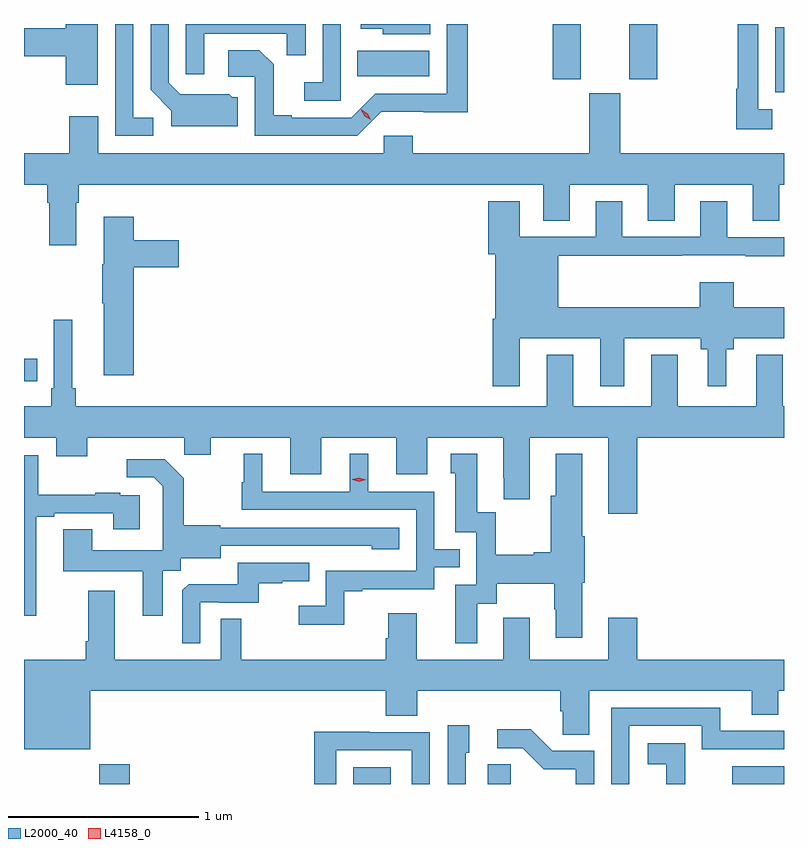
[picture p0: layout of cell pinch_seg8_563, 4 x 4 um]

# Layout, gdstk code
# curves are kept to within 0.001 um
import gdstk
lib = gdstk.Library(unit=1e-6, precision=1e-09)
def R(c, l, rs):  # rectangles x0, y0, x1, y1
    for r in rs: c.add(gdstk.rectangle(r[:2], r[2:], *l))
def P(c, l, *ps):  # polygons
    for p in ps: c.add(gdstk.Polygon(p, *l))
L2000_40 = (2000, 40)
L4158_0 = (4158, 0)

pinch_seg8_563 = lib.new_cell('pinch_seg8_563')
R(pinch_seg8_563, L2000_40, [(156.88,1096.029,157.04,1096.132), (158.216,1096.029,158.413,1096.117), (158.924,1096.029,159.045,1096.133), (160.21,1096.029,160.483,1096.122), (156.483,1098.15,156.554,1098.266), (160.436,1099.669,160.483,1100.012), (159.265,1099.737,159.412,1100.029), (159.668,1099.737,159.816,1100.029), (158.236,1099.754,158.617,1099.888)])
P(pinch_seg8_563, L2000_40, [(156.871,1100.029),(156.704,1100.029),(156.704,1100.006),(156.483,1100.006),(156.483,1099.859),(156.704,1099.859),(156.704,1099.71),(156.871,1099.71)],
  [(157.431,1099.977),(157.867,1099.977),(157.867,1099.864),(157.965,1099.864),(157.965,1100.029),(157.335,1100.029),(157.335,1099.764),(157.431,1099.764)],
  [(158.62,1100.029),(158.255,1100.029),(158.255,1100.003),(158.37,1100.003),(158.37,1099.976),(158.62,1099.976)],
  [(160.42,1099.581),(160.347,1099.581),(160.347,1100.029),(160.239,1100.029),(160.239,1099.688),(160.231,1099.688),(160.231,1099.476),(160.42,1099.476)],
  [(157.609,1099.644),(157.578,1099.644),(157.562,1099.66),(157.305,1099.659),(157.245,1099.719),(157.245,1100.029),(157.149,1100.029),(157.149,1099.682),(157.259,1099.572),(157.259,1099.49),(157.609,1099.49)],
  [(157.162,1099.536),(157.059,1099.536),(157.059,1100.029),(156.963,1100.029),(156.963,1099.44),(157.162,1099.44)],
  [(158.364,1099.566),(158.819,1099.565),(158.819,1100.029),(158.708,1100.029),(158.708,1099.662),(158.331,1099.662),(158.205,1099.536),(157.891,1099.536),(157.891,1099.549),(157.797,1099.549),(157.797,1099.816),(157.721,1099.892),(157.557,1099.892),(157.557,1099.752),(157.698,1099.752),(157.698,1099.44),(158.238,1099.44)],
  [(158.151,1100.029),(158.055,1100.029),(158.055,1099.723),(157.959,1099.723),(157.959,1099.626),(158.151,1099.626)],
  [(156.757,1099.088),(156.77,1099.088),(156.77,1099.184),(159.215,1099.184),(159.215,1098.994),(159.355,1098.994),(159.355,1099.184),(159.767,1099.184),(159.767,1098.994),(159.907,1098.994),(159.907,1099.184),(160.319,1099.184),(160.319,1098.994),(160.458,1098.994),(160.458,1099.184),(160.483,1099.184),(160.483,1099.348),(159.622,1099.348),(159.622,1099.665),(159.458,1099.665),(159.458,1099.348),(158.528,1099.348),(158.528,1099.441),(158.376,1099.441),(158.376,1099.348),(156.874,1099.348),(156.874,1099.543),(156.722,1099.543),(156.722,1099.348),(156.483,1099.348),(156.483,1099.184),(156.605,1099.184),(156.605,1099.088),(156.617,1099.088),(156.617,1098.864),(156.757,1098.864)],
  [(159.091,1098.374),(159.515,1098.374),(159.515,1098.123),(159.643,1098.123),(159.643,1098.374),(160.045,1098.374),(160.045,1098.317),(160.082,1098.317),(160.082,1098.123),(160.18,1098.123),(160.18,1098.317),(160.218,1098.317),(160.218,1098.374),(160.483,1098.374),(160.483,1098.538),(160.218,1098.538),(160.218,1098.67),(160.04,1098.67),(160.04,1098.538),(159.295,1098.538),(159.295,1098.808),(159.947,1098.808),(159.947,1098.812),(160.279,1098.812),(160.279,1098.806),(160.483,1098.806),(160.483,1098.906),(160.183,1098.906),(160.183,1099.096),(160.043,1099.096),(160.043,1098.909),(159.631,1098.909),(159.631,1099.096),(159.491,1099.096),(159.491,1098.909),(159.091,1098.909),(159.091,1099.096),(158.927,1099.096),(158.927,1098.816),(158.963,1098.816),(158.963,1098.478),(158.951,1098.478),(158.951,1098.123),(159.091,1098.123)],
  [(157.061,1098.749),(157.297,1098.749),(157.297,1098.891),(157.061,1098.891),(157.061,1099.015),(156.902,1099.015),(156.902,1098.765),(156.895,1098.765),(156.895,1098.559),(156.902,1098.559),(156.902,1098.18),(157.061,1098.18)],
  [(159.71,1097.852),(160.483,1097.852),(160.483,1098.016),(160.477,1098.016),(160.477,1098.289),(160.337,1098.289),(160.337,1098.016),(159.925,1098.016),(159.925,1098.289),(159.785,1098.289),(159.785,1098.016),(159.373,1098.016),(159.373,1098.289),(159.233,1098.289),(159.233,1098.016),(156.755,1098.016),(156.755,1098.112),(156.736,1098.112),(156.736,1098.472),(156.639,1098.472),(156.639,1098.112),(156.626,1098.112),(156.626,1098.016),(156.483,1098.016),(156.483,1097.852),(156.653,1097.852),(156.653,1097.753),(156.817,1097.753),(156.817,1097.852),(157.327,1097.852),(157.327,1097.762),(157.465,1097.762),(157.465,1097.852),(157.883,1097.852),(157.883,1097.658),(158.047,1097.658),(158.047,1097.852),(158.441,1097.852),(158.441,1097.658),(158.605,1097.658),(158.605,1097.852),(159.005,1097.852),(159.005,1097.641),(159.008,1097.641),(159.008,1097.529),(159.145,1097.529),(159.145,1097.852),(159.557,1097.852),(159.557,1097.451),(159.71,1097.451)],
  [(158.169,1097.043),(158.263,1097.043),(158.263,1097.055),(158.643,1097.055),(158.643,1097.169),(158.777,1097.169),(158.777,1097.265),(158.643,1097.265),(158.643,1097.568),(158.296,1097.568),(158.296,1097.767),(158.198,1097.767),(158.198,1097.568),(157.738,1097.568),(157.738,1097.767),(157.64,1097.767),(157.64,1097.616),(157.629,1097.616),(157.629,1097.472),(158.547,1097.472),(158.547,1097.151),(158.07,1097.151),(158.07,1096.966),(157.929,1096.966),(157.929,1096.868),(158.169,1096.868)],
  [(158.869,1096.978),(158.971,1096.978),(158.971,1097.084),(159.274,1097.084),(159.274,1096.95),(159.281,1096.95),(159.281,1096.8),(159.421,1096.8),(159.421,1097.088),(159.434,1097.088),(159.434,1097.332),(159.421,1097.332),(159.421,1097.767),(159.281,1097.767),(159.281,1097.547),(159.256,1097.547),(159.256,1097.249),(159.167,1097.249),(159.167,1097.236),(158.967,1097.236),(158.967,1097.459),(158.869,1097.459),(158.869,1097.767),(158.729,1097.767),(158.729,1097.664),(158.753,1097.664),(158.753,1097.355),(158.862,1097.355),(158.862,1097.079),(158.753,1097.079),(158.753,1096.77),(158.869,1096.77)],
  [(156.547,1097.436),(156.643,1097.436),(156.643,1097.454),(156.953,1097.454),(156.953,1097.37),(157.093,1097.37),(157.093,1097.55),(156.989,1097.55),(156.989,1097.563),(156.857,1097.563),(156.857,1097.552),(156.559,1097.552),(156.559,1097.76),(156.483,1097.76),(156.483,1096.914),(156.547,1096.914)],
  [(157.213,1097.152),(157.308,1097.152),(157.308,1097.216),(157.519,1097.216),(157.519,1097.283),(158.313,1097.282),(158.313,1097.264),(158.458,1097.264),(158.458,1097.379),(157.515,1097.379),(157.515,1097.392),(157.323,1097.392),(157.323,1097.637),(157.223,1097.737),(157.023,1097.737),(157.023,1097.643),(157.167,1097.643),(157.214,1097.596),(157.214,1097.501),(157.212,1097.501),(157.212,1097.26),(156.841,1097.26),(156.841,1097.369),(156.689,1097.369),(156.689,1097.15),(157.109,1097.15),(157.109,1096.914),(157.213,1096.914)],
  [(157.41,1096.986),(157.51,1096.986),(157.51,1096.983),(157.718,1096.983),(157.718,1097.085),(157.841,1097.085),(157.841,1097.096),(157.985,1097.096),(157.985,1097.193),(157.608,1097.193),(157.608,1097.081),(157.349,1097.081),(157.317,1097.049),(157.317,1096.769),(157.41,1096.769)],
  [(156.832,1096.52),(158.387,1096.52),(158.387,1096.387),(158.552,1096.387),(158.552,1096.52),(159.305,1096.52),(159.305,1096.411),(159.318,1096.411),(159.318,1096.288),(159.457,1096.288),(159.457,1096.52),(160.313,1096.52),(160.313,1096.393),(160.452,1096.393),(160.452,1096.52),(160.483,1096.52),(160.483,1096.684),(159.71,1096.684),(159.71,1096.903),(159.557,1096.903),(159.557,1096.684),(159.145,1096.684),(159.145,1096.903),(159.005,1096.903),(159.005,1096.684),(158.551,1096.684),(158.551,1096.927),(158.399,1096.927),(158.399,1096.797),(158.387,1096.797),(158.387,1096.684),(157.627,1096.684),(157.627,1096.898),(157.518,1096.898),(157.518,1096.684),(156.961,1096.684),(156.961,1097.047),(156.821,1097.047),(156.821,1096.78),(156.809,1096.78),(156.809,1096.684),(156.483,1096.684),(156.483,1096.211),(156.832,1096.211)],
  [(159.669,1096.335),(160.05,1096.335),(160.05,1096.212),(160.483,1096.212),(160.483,1096.308),(160.147,1096.308),(160.147,1096.431),(159.573,1096.431),(159.573,1096.029),(159.669,1096.029)],
  [(158.808,1096.194),(158.827,1096.194),(158.827,1096.339),(158.712,1096.339),(158.712,1096.029),(158.808,1096.029)],
  [(159.483,1096.203),(159.264,1096.203),(159.151,1096.316),(158.973,1096.316),(158.973,1096.218),(159.107,1096.218),(159.218,1096.107),(159.387,1096.107),(159.387,1096.029),(159.483,1096.029)],
  [(158.127,1096.206),(158.523,1096.206),(158.523,1096.029),(158.619,1096.029),(158.619,1096.302),(158.303,1096.302),(158.303,1096.304),(158.011,1096.304),(158.011,1096.029),(158.127,1096.029)],
  [(159.962,1096.037),(159.963,1096.037),(159.963,1096.243),(159.765,1096.243),(159.765,1096.133),(159.863,1096.133),(159.863,1096.029),(159.962,1096.029)])
P(pinch_seg8_563, L4158_0, [(158.247,1097.621),(158.211,1097.631),(158.211,1097.632),(158.211,1097.632),(158.247,1097.641),(158.282,1097.63),(158.283,1097.63),(158.282,1097.63)],
  [(158.307,1099.524),(158.276,1099.544),(158.259,1099.576),(158.259,1099.577),(158.26,1099.577),(158.291,1099.557),(158.308,1099.525),(158.308,1099.524)])

lib.write_gds('pinch_seg8_563.gds')
